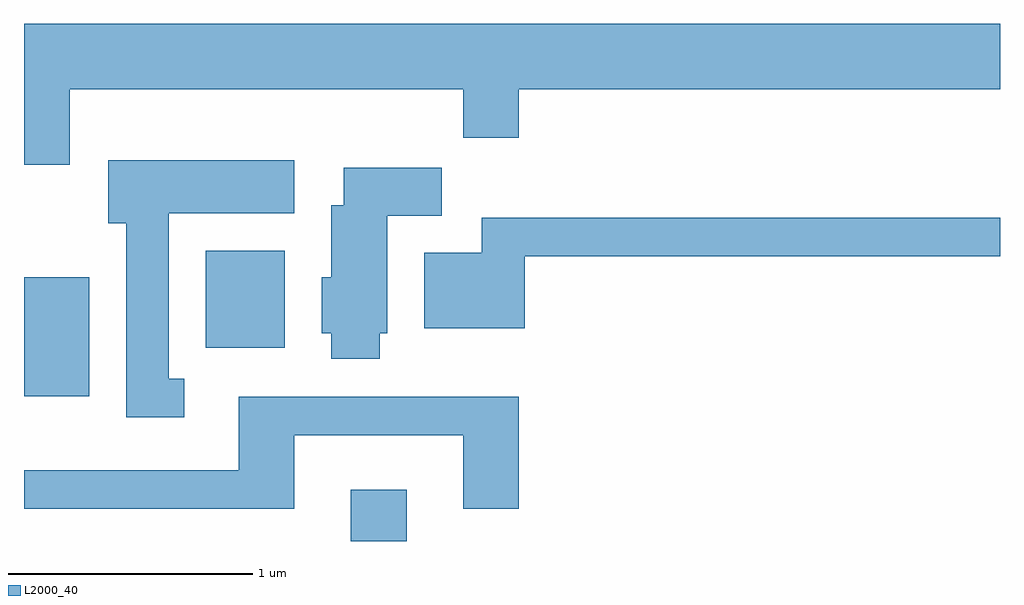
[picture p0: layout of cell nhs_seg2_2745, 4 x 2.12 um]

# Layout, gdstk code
import gdstk
lib = gdstk.Library(unit=1e-6, precision=1e-09)
def R(c, l, rs):  # rectangles x0, y0, x1, y1
    for r in rs: c.add(gdstk.rectangle(r[:2], r[2:], *l))
def P(c, l, *ps):  # polygons
    for p in ps: c.add(gdstk.Polygon(p, *l))
L2000_40 = (2000, 40)

nhs_seg2_2745 = lib.new_cell('nhs_seg2_2745')
R(nhs_seg2_2745, L2000_40, [(266.951,1039.802,267.179,1040.014), (265.611,1040.396,265.879,1040.884), (266.356,1040.596,266.679,1040.994)])
P(nhs_seg2_2745, L2000_40, [(265.799,1041.656),(267.411,1041.656),(267.411,1041.456),(267.639,1041.456),(267.639,1041.656),(269.611,1041.656),(269.611,1041.924),(265.611,1041.924),(265.611,1041.346),(265.799,1041.346)],
  [(266.268,1040.469),(266.204,1040.469),(266.204,1041.146),(266.719,1041.146),(266.719,1041.364),(265.956,1041.364),(265.956,1041.106),(266.031,1041.106),(266.031,1040.311),(266.268,1040.311)],
  [(267.069,1040.656),(267.099,1040.656),(267.099,1041.136),(267.324,1041.136),(267.324,1041.334),(266.921,1041.334),(266.921,1041.179),(266.871,1041.179),(266.871,1040.884),(266.831,1040.884),(266.831,1040.656),(266.871,1040.656),(266.871,1040.551),(267.069,1040.551)],
  [(267.664,1040.971),(269.611,1040.971),(269.611,1041.129),(267.486,1041.129),(267.486,1040.984),(267.251,1040.984),(267.251,1040.676),(267.664,1040.676)],
  [(266.719,1040.236),(267.411,1040.236),(267.411,1039.936),(267.639,1039.936),(267.639,1040.394),(266.491,1040.394),(266.491,1040.094),(265.611,1040.094),(265.611,1039.936),(266.719,1039.936)])

lib.write_gds('nhs_seg2_2745.gds')
